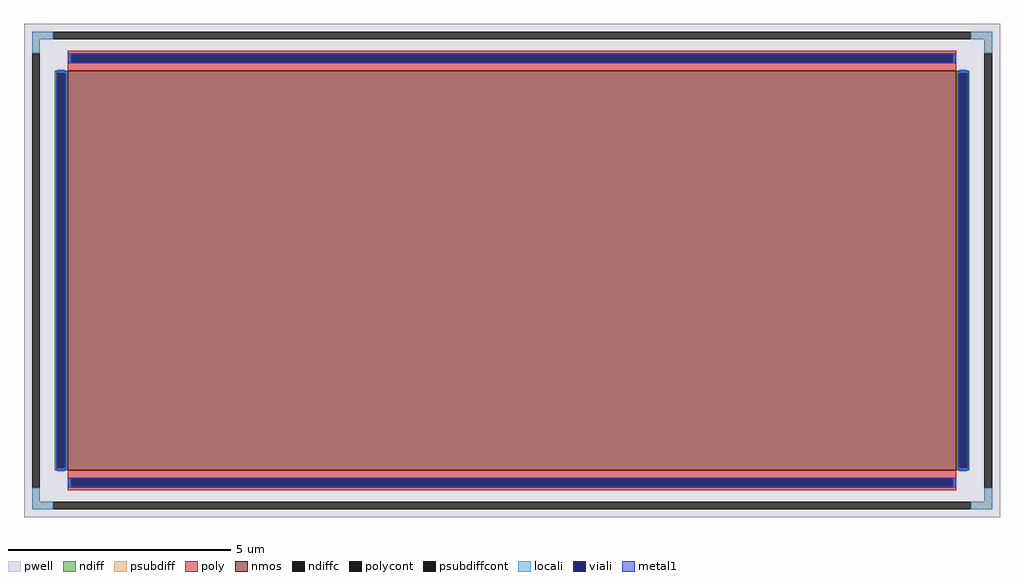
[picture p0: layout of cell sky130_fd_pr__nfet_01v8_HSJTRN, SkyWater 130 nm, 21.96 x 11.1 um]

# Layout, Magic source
magic
tech sky130A
<< pwell >>
rect -1098 -555 1098 555
<< nmos >>
rect -1000 -450 1000 450
<< ndiff >>
rect -1029 444 -1000 450
rect -1029 -444 -1023 444
rect -1006 -444 -1000 444
rect -1029 -450 -1000 -444
rect 1000 444 1029 450
rect 1000 -444 1006 444
rect 1023 -444 1029 444
rect 1000 -450 1029 -444
<< ndiffc >>
rect -1023 -444 -1006 444
rect 1006 -444 1023 444
<< psubdiff >>
rect -1080 520 -1032 537
rect 1032 520 1080 537
rect -1080 489 -1063 520
rect 1063 489 1080 520
rect -1080 -520 -1063 -489
rect 1063 -520 1080 -489
rect -1080 -537 -1032 -520
rect 1032 -537 1080 -520
<< psubdiffcont >>
rect -1032 520 1032 537
rect -1080 -489 -1063 489
rect 1063 -489 1080 489
rect -1032 -537 1032 -520
<< poly >>
rect -1000 486 1000 494
rect -1000 469 -992 486
rect 992 469 1000 486
rect -1000 450 1000 469
rect -1000 -469 1000 -450
rect -1000 -486 -992 -469
rect 992 -486 1000 -469
rect -1000 -494 1000 -486
<< polycont >>
rect -992 469 992 486
rect -992 -486 992 -469
<< locali >>
rect -1080 520 -1032 537
rect 1032 520 1080 537
rect -1080 489 -1063 520
rect 1063 489 1080 520
rect -1000 469 -992 486
rect 992 469 1000 486
rect -1023 444 -1006 452
rect -1023 -452 -1006 -444
rect 1006 444 1023 452
rect 1006 -452 1023 -444
rect -1000 -486 -992 -469
rect 992 -486 1000 -469
rect -1080 -520 -1063 -489
rect 1063 -520 1080 -489
rect -1080 -537 -1032 -520
rect 1032 -537 1080 -520
<< viali >>
rect -992 469 992 486
rect -1023 -444 -1006 444
rect 1006 -444 1023 444
rect -992 -486 992 -469
<< metal1 >>
rect -998 486 998 489
rect -998 469 -992 486
rect 992 469 998 486
rect -998 466 998 469
rect -1026 444 -1003 450
rect -1026 -444 -1023 444
rect -1006 -444 -1003 444
rect -1026 -450 -1003 -444
rect 1003 444 1026 450
rect 1003 -444 1006 444
rect 1023 -444 1026 444
rect 1003 -450 1026 -444
rect -998 -469 998 -466
rect -998 -486 -992 -469
rect 992 -486 998 -469
rect -998 -489 998 -486
<< properties >>
string FIXED_BBOX -1071 -528 1071 528
string gencell sky130_fd_pr__nfet_01v8
string library sky130
string parameters w 9 l 20 m 1 nf 1 diffcov 100 polycov 100 guard 1 glc 1 grc 1 gtc 1 gbc 1 tbcov 100 rlcov 100 topc 1 botc 1 poverlap 0 doverlap 1 lmin 0.15 wmin 0.42 compatible {sky130_fd_pr__nfet_01v8 sky130_fd_pr__nfet_01v8_lvt  sky130_fd_bs_flash__special_sonosfet_star  sky130_fd_pr__nfet_g5v0d10v5 sky130_fd_pr__nfet_05v0_nvt  sky130_fd_pr__nfet_03v3_nvt} full_metal 1 viasrc 100 viadrn 100 viagate 100 viagb 0 viagr 0 viagl 0 viagt 0
<< end >>
